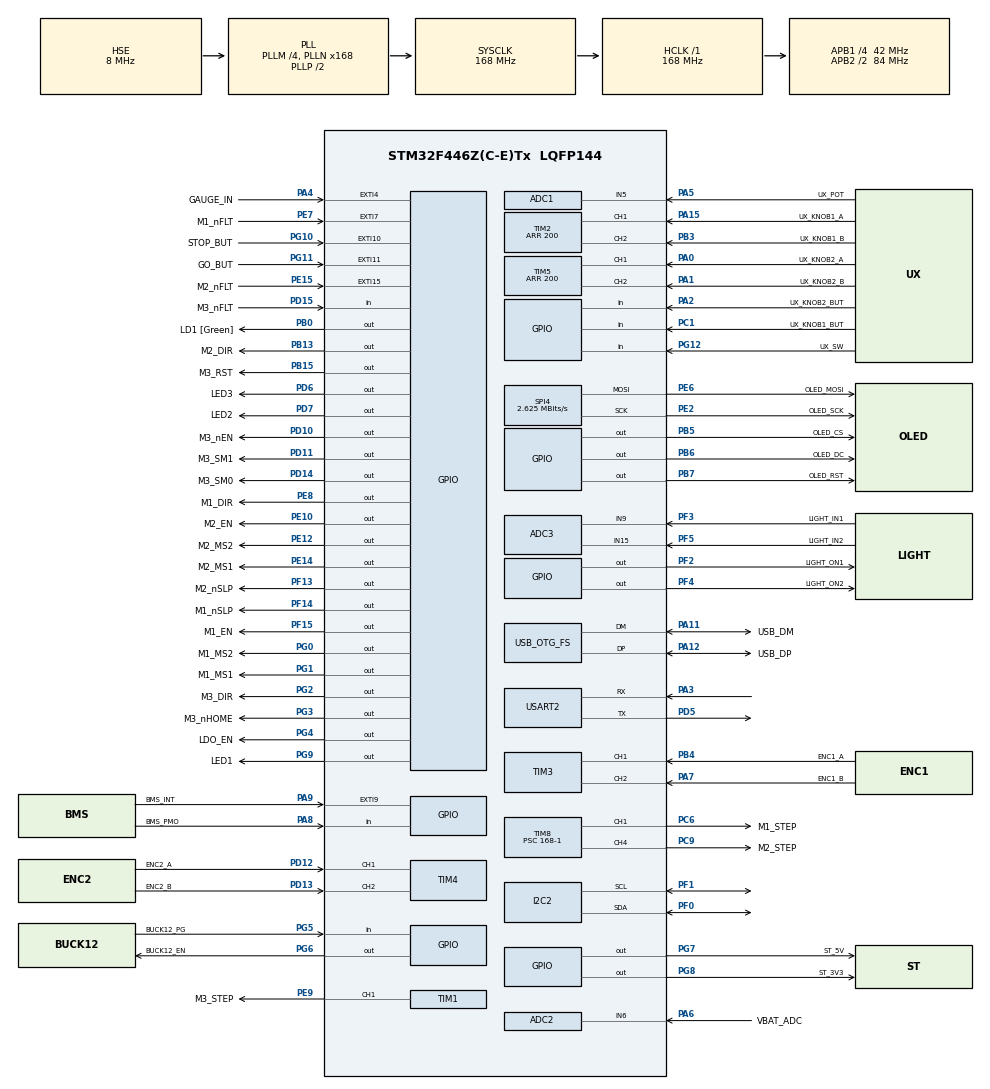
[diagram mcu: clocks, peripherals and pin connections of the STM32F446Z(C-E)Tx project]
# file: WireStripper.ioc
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ADC1.Channel-0\#ChannelRegularConversion=ADC_CHANNEL_5
ADC1.ContinuousConvMode=ENABLE
ADC1.DMAContinuousRequests=ENABLE
ADC1.EOCSelection=ADC_EOC_SEQ_CONV
ADC1.NbrOfConversion=1
ADC1.NbrOfConversionFlag=1
ADC1.Rank-0\#ChannelRegularConversion=1
ADC1.SamplingTime-0\#ChannelRegularConversion=ADC_SAMPLETIME_84CYCLES
ADC1.ScanConvMode=ENABLE
ADC1.master=1
ADC2.Channel-2\#ChannelRegularConversion=ADC_CHANNEL_6
ADC2.ContinuousConvMode=DISABLE
ADC2.NbrOfConversionFlag=1
ADC2.Rank-2\#ChannelRegularConversion=1
ADC2.SamplingTime-2\#ChannelRegularConversion=ADC_SAMPLETIME_3CYCLES
ADC2.ScanConvMode=DISABLE
ADC3.Channel-0\#ChannelRegularConversion=ADC_CHANNEL_9
ADC3.Channel-2\#ChannelRegularConversion=ADC_CHANNEL_15
ADC3.ContinuousConvMode=ENABLE
ADC3.DMAContinuousRequests=ENABLE
ADC3.EOCSelection=ADC_EOC_SEQ_CONV
ADC3.NbrOfConversion=2
ADC3.NbrOfConversionFlag=1
ADC3.Rank-0\#ChannelRegularConversion=1
ADC3.Rank-2\#ChannelRegularConversion=2
ADC3.SamplingTime-0\#ChannelRegularConversion=ADC_SAMPLETIME_84CYCLES
ADC3.SamplingTime-2\#ChannelRegularConversion=ADC_SAMPLETIME_84CYCLES
ADC3.ScanConvMode=ENABLE
Dma.ADC1.0.Direction=DMA_PERIPH_TO_MEMORY
Dma.ADC1.0.FIFOMode=DMA_FIFOMODE_DISABLE
Dma.ADC1.0.Instance=DMA2_Stream4
Dma.ADC1.0.MemDataAlignment=DMA_MDATAALIGN_HALFWORD
Dma.ADC1.0.MemInc=DMA_MINC_ENABLE
Dma.ADC1.0.Mode=DMA_CIRCULAR
Dma.ADC1.0.PeriphDataAlignment=DMA_PDATAALIGN_HALFWORD
Dma.ADC1.0.PeriphInc=DMA_PINC_DISABLE
Dma.ADC1.0.Priority=DMA_PRIORITY_LOW
Dma.ADC3.5.Direction=DMA_PERIPH_TO_MEMORY
Dma.ADC3.5.FIFOMode=DMA_FIFOMODE_DISABLE
Dma.ADC3.5.Instance=DMA2_Stream0
Dma.ADC3.5.MemDataAlignment=DMA_MDATAALIGN_WORD
Dma.ADC3.5.MemInc=DMA_MINC_ENABLE
Dma.ADC3.5.Mode=DMA_CIRCULAR
Dma.ADC3.5.PeriphDataAlignment=DMA_PDATAALIGN_WORD
Dma.ADC3.5.PeriphInc=DMA_PINC_DISABLE
Dma.ADC3.5.Priority=DMA_PRIORITY_LOW
Dma.I2C2_RX.8.Direction=DMA_PERIPH_TO_MEMORY
Dma.I2C2_RX.8.FIFOMode=DMA_FIFOMODE_DISABLE
Dma.I2C2_RX.8.Instance=DMA1_Stream2
Dma.I2C2_RX.8.MemDataAlignment=DMA_MDATAALIGN_BYTE
Dma.I2C2_RX.8.MemInc=DMA_MINC_ENABLE
Dma.I2C2_RX.8.Mode=DMA_NORMAL
Dma.I2C2_RX.8.PeriphDataAlignment=DMA_PDATAALIGN_BYTE
Dma.I2C2_RX.8.PeriphInc=DMA_PINC_DISABLE
Dma.I2C2_RX.8.Priority=DMA_PRIORITY_LOW
Dma.I2C2_TX.7.Direction=DMA_MEMORY_TO_PERIPH
Dma.I2C2_TX.7.FIFOMode=DMA_FIFOMODE_DISABLE
Dma.I2C2_TX.7.Instance=DMA1_Stream7
Dma.I2C2_TX.7.MemDataAlignment=DMA_MDATAALIGN_BYTE
Dma.I2C2_TX.7.MemInc=DMA_MINC_ENABLE
Dma.I2C2_TX.7.Mode=DMA_NORMAL
Dma.I2C2_TX.7.PeriphDataAlignment=DMA_PDATAALIGN_BYTE
Dma.I2C2_TX.7.PeriphInc=DMA_PINC_DISABLE
Dma.I2C2_TX.7.Priority=DMA_PRIORITY_LOW
Dma.Request0=ADC1
Dma.Request1=TIM1_CH1
Dma.Request2=TIM8_CH1
Dma.Request3=TIM8_CH4/TRIG/COM
Dma.Request4=SPI4_TX
Dma.Request5=ADC3
Dma.Request6=USART2_TX
Dma.Request7=I2C2_TX
Dma.Request8=I2C2_RX
Dma.SPI4_TX.4.Direction=DMA_MEMORY_TO_PERIPH
Dma.SPI4_TX.4.FIFOMode=DMA_FIFOMODE_DISABLE
Dma.SPI4_TX.4.Instance=DMA2_Stream1
Dma.SPI4_TX.4.MemDataAlignment=DMA_MDATAALIGN_BYTE
Dma.SPI4_TX.4.MemInc=DMA_MINC_ENABLE
Dma.SPI4_TX.4.Mode=DMA_NORMAL
Dma.SPI4_TX.4.PeriphDataAlignment=DMA_PDATAALIGN_BYTE
Dma.SPI4_TX.4.PeriphInc=DMA_PINC_DISABLE
Dma.SPI4_TX.4.Priority=DMA_PRIORITY_LOW
Dma.TIM1_CH1.1.Direction=DMA_MEMORY_TO_PERIPH
Dma.TIM1_CH1.1.FIFOMode=DMA_FIFOMODE_DISABLE
Dma.TIM1_CH1.1.Instance=DMA2_Stream3
Dma.TIM1_CH1.1.MemDataAlignment=DMA_MDATAALIGN_HALFWORD
Dma.TIM1_CH1.1.MemInc=DMA_MINC_DISABLE
Dma.TIM1_CH1.1.Mode=DMA_NORMAL
Dma.TIM1_CH1.1.PeriphDataAlignment=DMA_PDATAALIGN_HALFWORD
Dma.TIM1_CH1.1.PeriphInc=DMA_PINC_DISABLE
Dma.TIM1_CH1.1.Priority=DMA_PRIORITY_LOW
Dma.TIM8_CH1.2.Direction=DMA_MEMORY_TO_PERIPH
Dma.TIM8_CH1.2.FIFOMode=DMA_FIFOMODE_DISABLE
Dma.TIM8_CH1.2.Instance=DMA2_Stream2
Dma.TIM8_CH1.2.MemDataAlignment=DMA_MDATAALIGN_HALFWORD
Dma.TIM8_CH1.2.MemInc=DMA_MINC_DISABLE
Dma.TIM8_CH1.2.Mode=DMA_NORMAL
Dma.TIM8_CH1.2.PeriphDataAlignment=DMA_PDATAALIGN_HALFWORD
Dma.TIM8_CH1.2.PeriphInc=DMA_PINC_DISABLE
Dma.TIM8_CH1.2.Priority=DMA_PRIORITY_LOW
Dma.TIM8_CH4/TRIG/COM.3.Direction=DMA_MEMORY_TO_PERIPH
Dma.TIM8_CH4/TRIG/COM.3.FIFOMode=DMA_FIFOMODE_DISABLE
Dma.TIM8_CH4/TRIG/COM.3.Instance=DMA2_Stream7
Dma.TIM8_CH4/TRIG/COM.3.MemDataAlignment=DMA_MDATAALIGN_HALFWORD
Dma.TIM8_CH4/TRIG/COM.3.MemInc=DMA_MINC_DISABLE
Dma.TIM8_CH4/TRIG/COM.3.Mode=DMA_NORMAL
Dma.TIM8_CH4/TRIG/COM.3.PeriphDataAlignment=DMA_PDATAALIGN_HALFWORD
Dma.TIM8_CH4/TRIG/COM.3.PeriphInc=DMA_PINC_DISABLE
Dma.TIM8_CH4/TRIG/COM.3.Priority=DMA_PRIORITY_LOW
Dma.USART2_TX.6.Direction=DMA_MEMORY_TO_PERIPH
Dma.USART2_TX.6.FIFOMode=DMA_FIFOMODE_DISABLE
Dma.USART2_TX.6.Instance=DMA1_Stream6
Dma.USART2_TX.6.MemDataAlignment=DMA_MDATAALIGN_BYTE
Dma.USART2_TX.6.MemInc=DMA_MINC_ENABLE
Dma.USART2_TX.6.Mode=DMA_NORMAL
Dma.USART2_TX.6.PeriphDataAlignment=DMA_PDATAALIGN_BYTE
Dma.USART2_TX.6.PeriphInc=DMA_PINC_DISABLE
Dma.USART2_TX.6.Priority=DMA_PRIORITY_LOW
FREERTOS.HEAP_NUMBER=4
FREERTOS.Tasks01=idle,8,256,idleTask,Default,NULL,Dynamic,NULL,NULL
FREERTOS.configCHECK_FOR_STACK_OVERFLOW=2
FREERTOS.configMINIMAL_STACK_SIZE=256
FREERTOS.configRECORD_STACK_HIGH_ADDRESS=1
FREERTOS.configTOTAL_HEAP_SIZE=50000
FREERTOS.configUSE_MALLOC_FAILED_HOOK=1
I2C2.I2C_Mode=I2C_Standard
I2C2.OwnAddress=0
Mcu.Family=STM32F4
Mcu.Name=STM32F446Z(C-E)Tx
Mcu.Package=LQFP144
NVIC.DMA1_Stream2_IRQn=true\:5\:0\:false\:false\:true\:true\:false\:true\:true
NVIC.DMA1_Stream6_IRQn=true\:5\:0\:false\:false\:true\:true\:false\:true\:true
NVIC.DMA1_Stream7_IRQn=true\:5\:0\:false\:false\:true\:true\:false\:true\:true
NVIC.DMA2_Stream0_IRQn=true\:5\:0\:false\:false\:true\:true\:false\:true\:true
NVIC.DMA2_Stream1_IRQn=true\:5\:0\:false\:false\:true\:true\:false\:true\:true
NVIC.DMA2_Stream2_IRQn=true\:5\:0\:false\:false\:true\:true\:false\:true\:true
NVIC.DMA2_Stream3_IRQn=true\:5\:0\:false\:false\:true\:false\:false\:true\:true
NVIC.DMA2_Stream4_IRQn=true\:5\:0\:false\:false\:true\:true\:false\:true\:true
NVIC.DMA2_Stream7_IRQn=true\:5\:0\:false\:false\:true\:true\:false\:true\:true
NVIC.EXTI15_10_IRQn=true\:5\:0\:false\:false\:true\:true\:true\:true\:true
NVIC.EXTI4_IRQn=true\:5\:0\:false\:false\:true\:true\:true\:true\:true
NVIC.EXTI9_5_IRQn=true\:5\:0\:false\:false\:true\:true\:true\:true\:true
NVIC.PriorityGroup=NVIC_PRIORITYGROUP_4
NVIC.SPI4_IRQn=true\:5\:0\:false\:false\:true\:true\:true\:true\:true
NVIC.TIM1_UP_TIM10_IRQn=true\:5\:0\:false\:false\:true\:false\:false\:true\:true
NVIC.TIM6_DAC_IRQn=true\:15\:0\:false\:false\:true\:false\:false\:true\:true
NVIC.TIM8_UP_TIM13_IRQn=true\:5\:0\:false\:false\:true\:true\:true\:true\:true
NVIC.TimeBase=TIM6_DAC_IRQn
NVIC.TimeBaseIP=TIM6
NVIC.USART2_IRQn=true\:5\:0\:false\:false\:true\:true\:true\:true\:true
PA0-WKUP.GPIO_Label=UX_KNOB2_A
PA0-WKUP.GPIO_Speed=GPIO_SPEED_FREQ_HIGH
PA0-WKUP.Signal=S_TIM5_CH1
PA1.GPIO_Label=UX_KNOB2_B
PA1.GPIO_Speed=GPIO_SPEED_FREQ_HIGH
PA1.Signal=S_TIM5_CH2
PA11.GPIO_Label=USB_DM
PA11.Mode=Device_Only
PA11.Signal=USB_OTG_FS_DM
PA12.GPIO_Label=USB_DP
PA12.Mode=Device_Only
PA12.Signal=USB_OTG_FS_DP
PA13.GPIO_Label=TMS
PA13.Mode=Serial_Wire
PA13.Signal=SYS_JTMS-SWDIO
PA14.GPIO_Label=TCK
PA14.Mode=Serial_Wire
PA14.Signal=SYS_JTCK-SWCLK
PA15.GPIO_Label=UX_KNOB1_A
PA15.GPIO_PuPd=GPIO_NOPULL
PA15.GPIO_Speed=GPIO_SPEED_FREQ_HIGH
PA15.Signal=S_TIM2_CH1_ETR
PA2.GPIO_Label=UX_KNOB2_BUT
PA2.GPIO_PuPd=GPIO_PULLUP
PA2.Signal=GPIO_Input
PA3.Mode=Asynchronous
PA3.Signal=USART2_RX
PA4.GPIO_Label=GAUGE_IN
PA4.GPIO_PuPd=GPIO_NOPULL
PA4.Signal=GPXTI4
PA5.GPIO_Label=UX_POT
PA5.Signal=ADCx_IN5
PA6.GPIO_Label=VBAT_ADC
PA6.Signal=ADCx_IN6
PA7.GPIO_Label=ENC1_B
PA7.GPIO_Speed=GPIO_SPEED_FREQ_HIGH
PA7.Signal=S_TIM3_CH2
PA8.GPIO_Label=BMS_PMO
PA8.Signal=GPIO_Input
PA9.GPIO_Label=BMS_INT
PA9.Signal=GPXTI9
PB0.GPIO_Label=LD1 [Green]
PB0.Signal=GPIO_Output
PB13.GPIO_Label=M2_DIR
PB13.Signal=GPIO_Output
PB15.GPIO_Label=M3_RST
PB15.Signal=GPIO_Output
PB3.GPIO_Label=UX_KNOB1_B
PB3.GPIO_PuPd=GPIO_NOPULL
PB3.GPIO_Speed=GPIO_SPEED_FREQ_HIGH
PB3.Signal=S_TIM2_CH2
PB4.GPIO_Label=ENC1_A
PB4.GPIO_Speed=GPIO_SPEED_FREQ_HIGH
PB4.Signal=S_TIM3_CH1
PB5.GPIO_Label=OLED_CS
PB5.Signal=GPIO_Output
PB6.GPIO_Label=OLED_DC
PB6.Signal=GPIO_Output
PB7.GPIO_Label=OLED_RST
PB7.Signal=GPIO_Output
PC1.GPIO_Label=UX_KNOB1_BUT
PC1.GPIO_PuPd=GPIO_PULLUP
PC1.Signal=GPIO_Input
PC6.GPIO_Label=M1_STEP
PC6.GPIO_Speed=GPIO_SPEED_FREQ_VERY_HIGH
PC6.Signal=S_TIM8_CH1
PC9.GPIO_Label=M2_STEP
PC9.GPIO_Speed=GPIO_SPEED_FREQ_VERY_HIGH
PC9.Signal=S_TIM8_CH4
PD10.GPIO_Label=M3_nEN
PD10.Signal=GPIO_Output
PD11.GPIO_Label=M3_SM1
PD11.Signal=GPIO_Output
PD12.GPIO_Label=ENC2_A
PD12.GPIO_Speed=GPIO_SPEED_FREQ_HIGH
PD12.Signal=S_TIM4_CH1
PD13.GPIO_Label=ENC2_B
PD13.GPIO_Speed=GPIO_SPEED_FREQ_HIGH
PD13.Signal=S_TIM4_CH2
PD14.GPIO_Label=M3_SM0
PD14.Signal=GPIO_Output
PD15.GPIO_Label=M3_nFLT
PD15.GPIO_PuPd=GPIO_PULLUP
PD15.Signal=GPIO_Input
PD5.Mode=Asynchronous
PD5.Signal=USART2_TX
PD6.GPIO_Label=LED3
PD6.Signal=GPIO_Output
PD7.GPIO_Label=LED2
PD7.Signal=GPIO_Output
PE10.GPIO_Label=M2_EN
PE10.Signal=GPIO_Output
PE12.GPIO_Label=M2_MS2
PE12.Signal=GPIO_Output
PE14.GPIO_Label=M2_MS1
PE14.Signal=GPIO_Output
PE15.GPIO_Label=M2_nFLT
PE15.GPIO_ModeDefaultEXTI=GPIO_MODE_IT_FALLING
PE15.GPIO_PuPd=GPIO_PULLUP
PE15.Signal=GPXTI15
PE2.GPIO_Label=OLED_SCK
PE2.Mode=TX_Only_Simplex_Unidirect_Master
PE2.Signal=SPI4_SCK
PE6.GPIO_Label=OLED_MOSI
PE6.Mode=TX_Only_Simplex_Unidirect_Master
PE6.Signal=SPI4_MOSI
PE7.GPIO_Label=M1_nFLT
PE7.GPIO_ModeDefaultEXTI=GPIO_MODE_IT_FALLING
PE7.GPIO_PuPd=GPIO_PULLUP
PE7.Signal=GPXTI7
PE8.GPIO_Label=M1_DIR
PE8.Signal=GPIO_Output
PE9.GPIO_Label=M3_STEP
PE9.GPIO_Speed=GPIO_SPEED_FREQ_VERY_HIGH
PE9.Signal=S_TIM1_CH1
PF0.Mode=I2C
PF0.Signal=I2C2_SDA
PF1.Mode=I2C
PF1.Signal=I2C2_SCL
PF13.GPIO_Label=M2_nSLP
PF13.Signal=GPIO_Output
PF14.GPIO_Label=M1_nSLP
PF14.Signal=GPIO_Output
PF15.GPIO_Label=M1_EN
PF15.Signal=GPIO_Output
PF2.GPIO_Label=LIGHT_ON1
PF2.GPIO_PuPd=GPIO_PULLDOWN
PF2.PinState=GPIO_PIN_SET
PF2.Signal=GPIO_Output
PF3.GPIO_Label=LIGHT_IN1
PF3.Mode=IN9
PF3.Signal=ADC3_IN9
PF4.GPIO_Label=LIGHT_ON2
PF4.GPIO_PuPd=GPIO_PULLDOWN
PF4.PinState=GPIO_PIN_SET
PF4.Signal=GPIO_Output
PF5.GPIO_Label=LIGHT_IN2
PF5.Mode=IN15
PF5.Signal=ADC3_IN15
PG0.GPIO_Label=M1_MS2
PG0.Signal=GPIO_Output
PG1.GPIO_Label=M1_MS1
PG1.Signal=GPIO_Output
PG10.GPIO_Label=STOP_BUT
PG10.GPIO_ModeDefaultEXTI=GPIO_MODE_IT_FALLING
PG10.GPIO_PuPd=GPIO_PULLUP
PG10.Signal=GPXTI10
PG11.GPIO_Label=GO_BUT
PG11.GPIO_ModeDefaultEXTI=GPIO_MODE_IT_FALLING
PG11.GPIO_PuPd=GPIO_PULLUP
PG11.Signal=GPXTI11
PG12.GPIO_Label=UX_SW
PG12.Signal=GPIO_Input
PG2.GPIO_Label=M3_DIR
PG2.Signal=GPIO_Output
PG3.GPIO_Label=M3_nHOME
PG3.Signal=GPIO_Output
PG4.GPIO_Label=LDO_EN
PG4.Signal=GPIO_Output
PG5.GPIO_Label=BUCK12_PG
PG5.Signal=GPIO_Input
PG6.GPIO_Label=BUCK12_EN
PG6.Signal=GPIO_Output
PG7.GPIO_Label=ST_5V
PG7.Signal=GPIO_Output
PG8.GPIO_Label=ST_3V3
PG8.Signal=GPIO_Output
PG9.GPIO_Label=LED1
PG9.Signal=GPIO_Output
PH0-OSC_IN.GPIO_Label=MCO [STM32F103CBT6_PA8]
PH0-OSC_IN.Mode=HSE-External-Clock-Source
PH0-OSC_IN.Signal=RCC_OSC_IN
PH1-OSC_OUT.Mode=HSE-External-Clock-Source
PH1-OSC_OUT.Signal=RCC_OSC_OUT
ProjectManager.HeapSize=0x1000
ProjectManager.StackSize=0x1000
ProjectManager.TargetToolchain=CMake
RCC.48MHZClocksFreq_Value=24000000
RCC.AHBFreq_Value=168000000
RCC.APB1CLKDivider=RCC_HCLK_DIV4
RCC.APB1Freq_Value=42000000
RCC.APB1TimFreq_Value=84000000
RCC.APB2CLKDivider=RCC_HCLK_DIV2
RCC.APB2Freq_Value=84000000
RCC.APB2TimFreq_Value=168000000
RCC.CortexFreq_Value=168000000
RCC.HCLKFreq_Value=168000000
RCC.HSE_VALUE=8000000
RCC.HSI_VALUE=16000000
RCC.PLLM=4
RCC.PLLMUL=RCC_PLL_MUL9
RCC.PLLN=168
RCC.PLLQ=7
RCC.PLLSourceVirtual=RCC_PLLSOURCE_HSE
RCC.PRESCALERUSB=RCC_USBCLKSOURCE_PLL_DIV1_5
RCC.SYSCLKFreq_VALUE=168000000
RCC.SYSCLKSource=RCC_SYSCLKSOURCE_PLLCLK
RCC.SYSCLKSourceVirtual=RCC_SYSCLKSOURCE_PLLCLK
RCC.USBFreq_Value=48000000
RCC.VCOOutputFreq_Value=336000000
SH.ADCx_IN5.0=ADC1_IN5,IN5
SH.ADCx_IN6.0=ADC2_IN6,IN6
SH.S_TIM1_CH1.0=TIM1_CH1,PWM Generation1 CH1
SH.S_TIM2_CH1_ETR.0=TIM2_CH1,Encoder_Interface
SH.S_TIM2_CH2.0=TIM2_CH2,Encoder_Interface
SH.S_TIM3_CH1.0=TIM3_CH1,Encoder_Interface
SH.S_TIM3_CH2.0=TIM3_CH2,Encoder_Interface
SH.S_TIM4_CH1.0=TIM4_CH1,Encoder_Interface
SH.S_TIM4_CH2.0=TIM4_CH2,Encoder_Interface
SH.S_TIM5_CH1.0=TIM5_CH1,Encoder_Interface
SH.S_TIM5_CH2.0=TIM5_CH2,Encoder_Interface
SH.S_TIM8_CH1.0=TIM8_CH1,PWM Generation1 CH1
SH.S_TIM8_CH4.0=TIM8_CH4,PWM Generation4 CH4
SPI4.BaudRatePrescaler=SPI_BAUDRATEPRESCALER_32
SPI4.CLKPhase=SPI_PHASE_2EDGE
SPI4.CLKPolarity=SPI_POLARITY_HIGH
SPI4.CalculateBaudRate=2.625 MBits/s
SPI4.Direction=SPI_DIRECTION_2LINES
SPI4.Mode=SPI_MODE_MASTER
SPI4.VirtualType=VM_MASTER
TIM1.AutoReloadPreload=TIM_AUTORELOAD_PRELOAD_DISABLE
TIM1.Channel-PWM\ Generation1\ CH1=TIM_CHANNEL_1
TIM1.OCMode_PWM-PWM\ Generation1\ CH1=TIM_OCMODE_PWM1
TIM1.Period=10000
TIM1.Prescaler=168-1
TIM1.Pulse-PWM\ Generation1\ CH1=5000
TIM1.RepetitionCounter=0
TIM1.TIM_MasterOutputTrigger=TIM_TRGO_RESET
TIM1.TIM_MasterSlaveMode=TIM_MASTERSLAVEMODE_DISABLE
TIM2.AutoReloadPreload=TIM_AUTORELOAD_PRELOAD_ENABLE
TIM2.ClockDivision=TIM_CLOCKDIVISION_DIV2
TIM2.EncoderMode=TIM_ENCODERMODE_TI1
TIM2.IC1Filter=0
TIM2.IC1Polarity=TIM_ICPOLARITY_RISING
TIM2.IC2Filter=0
TIM2.IC2Polarity=TIM_ICPOLARITY_RISING
TIM2.Period=200
TIM4.Channel-PWM\ Generation1\ CH1=TIM_CHANNEL_1
TIM5.AutoReloadPreload=TIM_AUTORELOAD_PRELOAD_ENABLE
TIM5.ClockDivision=TIM_CLOCKDIVISION_DIV2
TIM5.EncoderMode=TIM_ENCODERMODE_TI1
TIM5.IC1Prescaler=TIM_ICPSC_DIV1
TIM5.IC2Prescaler=TIM_ICPSC_DIV1
TIM5.Period=200
TIM8.Channel-PWM\ Generation1\ CH1=TIM_CHANNEL_1
TIM8.Channel-PWM\ Generation4\ CH4=TIM_CHANNEL_4
TIM8.Period=10000
TIM8.Prescaler=168-1
TIM8.Pulse-PWM\ Generation1\ CH1=5000
USART2.VirtualMode=VM_ASYNC
USB_OTG_FS.VirtualMode=Device_Only
VP_FREERTOS_VS_CMSIS_V2.Mode=CMSIS_V2
VP_SYS_VS_tim6.Mode=TIM6
board=NUCLEO-F446ZE

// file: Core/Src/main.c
/* USER CODE BEGIN Header */
/**
  ******************************************************************************
  * @file           : main.c
  * @brief          : Main program body
  ******************************************************************************
  * @attention
  *
  * Copyright (c) 2025 STMicroelectronics.
  * All rights reserved.
  *
  * This software is licensed under terms that can be found in the LICENSE file
  * in the root directory of this software component.
  * If no LICENSE file comes with this software, it is provided AS-IS.
  *
  ******************************************************************************
  */
/* USER CODE END Header */
#include "main.h"
#include "cmsis_os.h"
#include "adc.h"
#include "dma.h"
#include "i2c.h"
#include "spi.h"
#include "tim.h"
#include "usart.h"
#include "usb_otg.h"
#include "gpio.h"

/* USER CODE BEGIN Includes */
#include "../User/OLED/OLED_2in42.h"
#include <unistd.h>
#include "task_display.h"
#include "string.h"
#include "task_actuatorControl.h"

/* USER CODE END Includes */

void SystemClock_Config(void);
void MX_FREERTOS_Init(void);

int main(void)
{

  /* MCU Configuration--------------------------------------------------------*/

  /* Reset of all peripherals, Initializes the Flash interface and the Systick. */
  HAL_Init();

  /* Configure the system clock */
  SystemClock_Config();

  /* Initialize all configured peripherals */
  MX_GPIO_Init();
  MX_DMA_Init();
  MX_ADC1_Init();
  MX_TIM1_Init();
  MX_TIM2_Init();
  MX_TIM3_Init();
  MX_TIM4_Init();
  MX_TIM5_Init();
  MX_I2C2_Init();
  MX_ADC2_Init();
  MX_USB_OTG_FS_PCD_Init();
  MX_TIM8_Init();
  MX_SPI4_Init();
  MX_ADC3_Init();
  MX_USART2_UART_Init();
  /* USER CODE BEGIN 2 */

  //Starting encoders
  HAL_TIM_Encoder_Start(&htim2, TIM_CHANNEL_ALL);
  HAL_TIM_Encoder_Start(&htim3, TIM_CHANNEL_ALL);
  HAL_TIM_Encoder_Start(&htim4, TIM_CHANNEL_ALL);
  HAL_TIM_Encoder_Start(&htim5, TIM_CHANNEL_ALL);

  //Starting ADC
  HAL_ADC_Start_DMA(&hadc1, adcVals1, 2);
  HAL_ADC_Start(&hadc2);
  HAL_ADC_Start_DMA(&hadc2, adcVals3, 2);

  /* USER CODE END 2 */

  /* Init scheduler */
  osKernelInitialize();  /* Call init function for freertos objects (in cmsis_os2.c) */
  MX_FREERTOS_Init();

  /* Start scheduler */
  osKernelStart();

  /* We should never get here as control is now taken by the scheduler */

  /* Infinite loop */
  while (1)
  {

  }
}

void SystemClock_Config(void)
{
  RCC_OscInitTypeDef RCC_OscInitStruct = {0};
  RCC_ClkInitTypeDef RCC_ClkInitStruct = {0};

  /** Configure the main internal regulator output voltage
  */
  __HAL_RCC_PWR_CLK_ENABLE();
  __HAL_PWR_VOLTAGESCALING_CONFIG(PWR_REGULATOR_VOLTAGE_SCALE1);

  /** Initializes the RCC Oscillators according to the specified parameters
  * in the RCC_OscInitTypeDef structure.
  */
  RCC_OscInitStruct.OscillatorType = RCC_OSCILLATORTYPE_HSE;
  RCC_OscInitStruct.HSEState = RCC_HSE_BYPASS;
  RCC_OscInitStruct.PLL.PLLState = RCC_PLL_ON;
  RCC_OscInitStruct.PLL.PLLSource = RCC_PLLSOURCE_HSE;
  RCC_OscInitStruct.PLL.PLLM = 4;
  RCC_OscInitStruct.PLL.PLLN = 168;
  RCC_OscInitStruct.PLL.PLLP = RCC_PLLP_DIV2;
  RCC_OscInitStruct.PLL.PLLQ = 7;
  RCC_OscInitStruct.PLL.PLLR = 2;
  if (HAL_RCC_OscConfig(&RCC_OscInitStruct) != HAL_OK)
  {
    Error_Handler();
  }

  /** Initializes the CPU, AHB and APB buses clocks
  */
  RCC_ClkInitStruct.ClockType = RCC_CLOCKTYPE_HCLK|RCC_CLOCKTYPE_SYSCLK
                              |RCC_CLOCKTYPE_PCLK1|RCC_CLOCKTYPE_PCLK2;
  RCC_ClkInitStruct.SYSCLKSource = RCC_SYSCLKSOURCE_PLLCLK;
  RCC_ClkInitStruct.AHBCLKDivider = RCC_SYSCLK_DIV1;
  RCC_ClkInitStruct.APB1CLKDivider = RCC_HCLK_DIV4;
  RCC_ClkInitStruct.APB2CLKDivider = RCC_HCLK_DIV2;

  if (HAL_RCC_ClockConfig(&RCC_ClkInitStruct, FLASH_LATENCY_5) != HAL_OK)
  {
    Error_Handler();
  }
}

void HAL_TIM_PeriodElapsedCallback(TIM_HandleTypeDef *htim)
{
  /* USER CODE BEGIN Callback 0 */

  if (htim->Instance == TIM1)
  {
    // M1Steps -= TIM1->RCR;
    // if (M1Steps > 0) {
    //   __HAL_TIM_CLEAR_IT(&htim1, TIM_CHANNEL_1);
    // } else {
    //   TIM1->CR1 &= ~TIM_CR1_OPM;
    //   HAL_TIM_PWM_Stop_IT(&htim1, TIM_CHANNEL_1);
    //   TIM1->RCR = 0;
    //   M1Steps = 0;
    //   __HAL_TIM_CLEAR_IT(&htim1, TIM_CHANNEL_1);
    // }
  }
  /* USER CODE END Callback 0 */
  if (htim->Instance == TIM6)
  {
    HAL_IncTick();
  }
}

void Error_Handler(void)
{
  __disable_irq();
  while (1)
  {
  }
}

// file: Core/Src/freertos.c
/* USER CODE BEGIN Header */
/**
  ******************************************************************************
  * File Name          : freertos.c
  * Description        : Code for freertos applications
  ******************************************************************************
  * @attention
  *
  * Copyright (c) 2025 STMicroelectronics.
  * All rights reserved.
  *
  * This software is licensed under terms that can be found in the LICENSE file
  * in the root directory of this software component.
  * If no LICENSE file comes with this software, it is provided AS-IS.
  *
  ******************************************************************************
  */
/* USER CODE END Header */

#include "FreeRTOS.h"
#include "task.h"
#include "main.h"
#include "cmsis_os.h"

/* USER CODE BEGIN Includes */
#include "task_manager.h"
// #include "usart.h"
/* USER CODE END Includes */

/* Definitions for idle */
osThreadId_t idleHandle;
const osThreadAttr_t idle_attributes = {
  .name = "idle",
  .stack_size = 256 * 4,
  .priority = (osPriority_t) osPriorityLow,
};

void idleTask(void *argument);

void MX_FREERTOS_Init(void); /* (MISRA C 2004 rule 8.1) */

/* Hook prototypes */
void vApplicationStackOverflowHook(xTaskHandle xTask, signed char *pcTaskName);
void vApplicationMallocFailedHook(void);

/* USER CODE BEGIN 4 */
void vApplicationStackOverflowHook(xTaskHandle xTask, signed char *pcTaskName)
{
   /* Run time stack overflow checking is performed if
   configCHECK_FOR_STACK_OVERFLOW is defined to 1 or 2. This hook function is
   called if a stack overflow is detected. */
  // uint8_t overflow[] = {99};
  // HAL_UART_Transmit(&huart3, overflow, 1, 1000);
  // (void)xTask; (void)pcTaskName;
  // taskDISABLE_INTERRUPTS();
  // for(;;) {}
  int x = 1;
}
/* USER CODE END 4 */

/* USER CODE BEGIN 5 */
void vApplicationMallocFailedHook(void)
{
   /* vApplicationMallocFailedHook() will only be called if
   configUSE_MALLOC_FAILED_HOOK is set to 1 in FreeRTOSConfig.h. It is a hook
   function that will get called if a call to pvPortMalloc() fails.
   pvPortMalloc() is called internally by the kernel whenever a task, queue,
   timer or semaphore is created. It is also called by various parts of the
   demo application. If heap_1.c or heap_2.c are used, then the size of the
   heap available to pvPortMalloc() is defined by configTOTAL_HEAP_SIZE in
   FreeRTOSConfig.h, and the xPortGetFreeHeapSize() API function can be used
   to query the size of free heap space that remains (although it does not
   provide information on how the remaining heap might be fragmented). */
  int x = 1;
}
/* USER CODE END 5 */

void MX_FREERTOS_Init(void) {
  /* USER CODE BEGIN Init */
  TaskManager_InitTasks();
  /* USER CODE END Init */

  /* Create the thread(s) */
  /* creation of idle */
  idleHandle = osThreadNew(idleTask, NULL, &idle_attributes);

  /* USER CODE BEGIN RTOS_THREADS */
  /* add threads, ... */
  TaskManager_CreateAllTasks();
  size_t freeNow = xPortGetFreeHeapSize();
  size_t minEver = xPortGetMinimumEverFreeHeapSize();
  /* USER CODE END RTOS_THREADS */

}

void idleTask(void *argument)
{
  /* USER CODE BEGIN idleTask */
  /* Infinite loop */
  vTaskDelete(NULL);
  /* USER CODE END idleTask */
}
